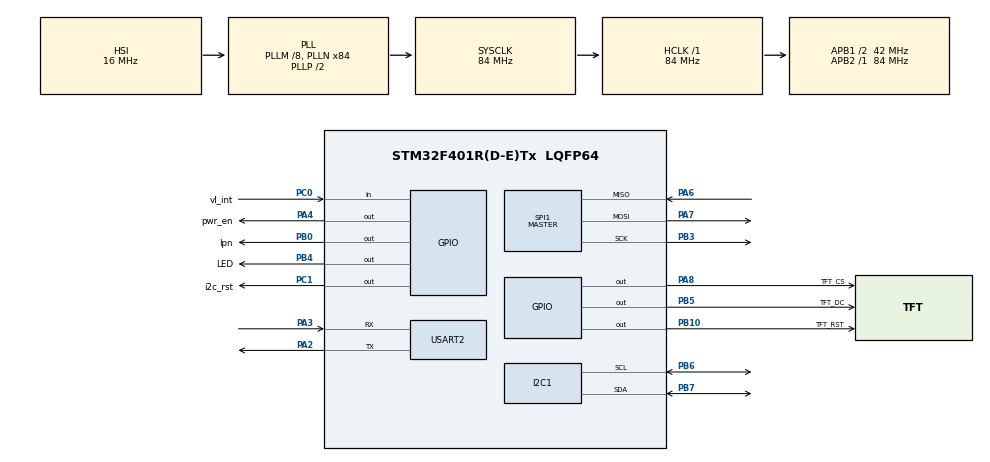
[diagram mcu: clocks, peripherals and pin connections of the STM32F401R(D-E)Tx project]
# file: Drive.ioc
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Mcu.Family=STM32F4
Mcu.Name=STM32F401R(D-E)Tx
Mcu.Package=LQFP64
NVIC.PriorityGroup=NVIC_PRIORITYGROUP_4
PA2.Mode=Asynchronous
PA2.Signal=USART2_TX
PA3.Mode=Asynchronous
PA3.Signal=USART2_RX
PA4.GPIO_Label=pwr_en
PA4.Signal=GPIO_Output
PA6.Mode=Full_Duplex_Master
PA6.Signal=SPI1_MISO
PA7.Mode=Full_Duplex_Master
PA7.Signal=SPI1_MOSI
PA8.GPIO_Label=TFT_CS
PA8.GPIO_Speed=GPIO_SPEED_FREQ_HIGH
PA8.PinState=GPIO_PIN_SET
PA8.Signal=GPIO_Output
PB0.GPIO_Label=lpn
PB0.Signal=GPIO_Output
PB10.GPIO_Label=TFT_RST
PB10.GPIO_Speed=GPIO_SPEED_FREQ_HIGH
PB10.Signal=GPIO_Output
PB3.Mode=Full_Duplex_Master
PB3.Signal=SPI1_SCK
PB4.GPIO_Label=LED
PB4.GPIO_Speed=GPIO_SPEED_FREQ_HIGH
PB4.Signal=GPIO_Output
PB5.GPIO_Label=TFT_DC
PB5.GPIO_Speed=GPIO_SPEED_FREQ_HIGH
PB5.Signal=GPIO_Output
PB6.Mode=I2C
PB6.Signal=I2C1_SCL
PB7.Mode=I2C
PB7.Signal=I2C1_SDA
PC0.GPIO_Label=vl_int
PC0.Signal=GPIO_Input
PC1.GPIO_Label=i2c_rst
PC1.Signal=GPIO_Output
ProjectManager.HeapSize=0x200
ProjectManager.StackSize=0x400
ProjectManager.TargetToolchain=STM32CubeIDE
RCC.48MHZClocksFreq_Value=42000000
RCC.AHBFreq_Value=84000000
RCC.APB1CLKDivider=RCC_HCLK_DIV2
RCC.APB1Freq_Value=42000000
RCC.APB1TimFreq_Value=84000000
RCC.APB2Freq_Value=84000000
RCC.APB2TimFreq_Value=84000000
RCC.CortexFreq_Value=84000000
RCC.HCLKFreq_Value=84000000
RCC.HSE_VALUE=25000000
RCC.HSI_VALUE=16000000
RCC.LSE_VALUE=32768
RCC.PLLM=8
RCC.PLLN=84
RCC.SYSCLKFreq_VALUE=84000000
RCC.SYSCLKSource=RCC_SYSCLKSOURCE_PLLCLK
RCC.VCOOutputFreq_Value=168000000
SPI1.BaudRatePrescaler=SPI_BAUDRATEPRESCALER_8
SPI1.DataSize=SPI_DATASIZE_8BIT
SPI1.Direction=SPI_DIRECTION_2LINES
SPI1.Mode=SPI_MODE_MASTER
SPI1.VirtualType=VM_MASTER
USART2.VirtualMode=VM_ASYNC
VP_TIM11_VS_ClockSourceINT.Mode=Enable_Timer
board=custom

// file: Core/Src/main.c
/* USER CODE BEGIN Header */
/**
  ******************************************************************************
  * @file           : main.c
  * @brief          : Main program body
  ******************************************************************************
  * @attention
  *
  * Copyright (c) 2026 STMicroelectronics.
  * All rights reserved.
  *
  * This software is licensed under terms that can be found in the LICENSE file
  * in the root directory of this software component.
  * If no LICENSE file comes with this software, it is provided AS-IS.
  *
  ******************************************************************************
  */
/* USER CODE END Header */
#include "main.h"

/* USER CODE BEGIN Includes */
#include "platform.h"
#include "ili9488.h"
#include "mpu-xxx0.h"
#include "string.h"
#include "stdio.h"
#include "vl53l7cx_api.h"

/* USER CODE END Includes */

I2C_HandleTypeDef hi2c1;

SPI_HandleTypeDef hspi1;

TIM_HandleTypeDef htim11;

UART_HandleTypeDef huart2;

/* USER CODE BEGIN PV */
#define is_interrupt 0
int status;
volatile int IntCount;
uint8_t p_data_ready;
VL53L7CX_Configuration 	Dev;
VL53L7CX_ResultsData 	Results;
uint8_t resolution, isAlive;
uint16_t idx;

/* USER CODE END PV */

void SystemClock_Config(void);
static void MX_GPIO_Init(void);
static void MX_I2C1_Init(void);
static void MX_TIM11_Init(void);
static void MX_USART2_UART_Init(void);
static void MX_SPI1_Init(void);

/* USER CODE BEGIN 0 */

void get_data_by_polling(VL53L7CX_Configuration *p_dev);
void get_data_by_interrupt(VL53L7CX_Configuration *p_dev);

void HAL_GPIO_EXTI_Callback(uint16_t GPIO_Pin)
{
	if (GPIO_Pin==vl_int_Pin)
	{
		IntCount++;
	}
}
/* USER CODE END 0 */

int main(void)
{

  /* USER CODE BEGIN 1 */
#define TRUE  1
#define FALSE 0

  /* USER CODE END 1 */

  /* MCU Configuration--------------------------------------------------------*/

  /* Reset of all peripherals, Initializes the Flash interface and the Systick. */
  HAL_Init();

  /* Configure the system clock */
  SystemClock_Config();

  /* Initialize all configured peripherals */
  MX_GPIO_Init();
  MX_I2C1_Init();
  MX_TIM11_Init();
  MX_USART2_UART_Init();
  MX_SPI1_Init();
  /* USER CODE BEGIN 2 */

  ILI9488_Init();
  /* Turn on TFT backlight / LED after display init */
  HAL_GPIO_WritePin(LED_GPIO_Port, LED_Pin, GPIO_PIN_SET);

   HAL_Delay(1000);
   setRotation(3);
   char badmpu[] = "BEFORE FILLSCREEN\n\r";

   HAL_UART_Transmit(&huart2, badmpu, strlen((char *)badmpu), 0xFFFF);
   HAL_Delay(1000);
   fillScreen(ILI9488_WHITE);
   fillScreen(ILI9488_GREEN);
   fillScreen(ILI9488_BLUE);

 char baddmpu[] = "after FILLSCREEN\n\r";

 HAL_UART_Transmit(&huart2, baddmpu, strlen((char *)badmpu), 0xFFFF);
 HAL_Delay(1000);

 ILI9488_printText("VALUE:41", 20, 20, ILI9488_BLACK, ILI9488_WHITE, 1);
 ILI9488_printText("VALUE:41", 20, 30, ILI9488_BLACK, ILI9488_WHITE, 1);

 int i = 0;
 char buffer[32];
	Dev.platform.address = VL53L7CX_DEFAULT_I2C_ADDRESS;
//	HAL_GPIO_WritePin(I2C_RST_C_GPIO_Port, I2C_RST_C_Pin, GPIO_PIN_RESET);
//	HAL_Delay(20);
//	HAL_GPIO_WritePin(PWR_EN_C_GPIO_Port, PWR_EN_C_Pin, GPIO_PIN_RESET);
//	HAL_Delay(20);
//	HAL_GPIO_WritePin(LPn_C_GPIO_Port, LPn_C_Pin, GPIO_PIN_RESET);
//	HAL_Delay(20);
//	HAL_GPIO_WritePin(PWR_EN_C_GPIO_Port, PWR_EN_C_Pin, GPIO_PIN_SET);
//	HAL_Delay(20);
//	HAL_GPIO_WritePin(LPn_C_GPIO_Port, LPn_C_Pin, GPIO_PIN_SET);
	status = vl53l7cx_is_alive(&Dev, &isAlive);
	if(!isAlive)
	{
		//printf("VL53L7CX not detected at requested address (0x%x)\n", Dev.platform.address);
		 char bbaddmpu[] = "VL53L7CX not detected at requested address (0x%x)\n";

		 HAL_UART_Transmit(&huart2, bbaddmpu, strlen((char *)badmpu), 0xFFFF);
		return 255;
	}
	char bdddmpu[] = "Sensor initializing, please wait few seconds\n\r";

	 HAL_UART_Transmit(&huart2, bdddmpu, strlen((char *)badmpu), 0xFFFF);
	//printf("Sensor initializing, please wait few seconds\n");
	status = vl53l7cx_init(&Dev);
	status = vl53l7cx_set_ranging_frequency_hz(&Dev, 2);				// Set 2Hz ranging frequency
	status = vl53l7cx_set_ranging_mode(&Dev, VL53L7CX_RANGING_MODE_CONTINUOUS);  // Set mode continuous

	printf("Ranging starts\n");
	status = vl53l7cx_start_ranging(&Dev);

	if (is_interrupt) {
			get_data_by_interrupt(&Dev);
		}
		else {
			get_data_by_polling(&Dev);
		}
  /* USER CODE END 2 */

  /* Infinite loop */
  /* USER CODE BEGIN WHILE */
  while (1)
  {
	  //fillScreen(ILI9488_WHITE);
	  snprintf(buffer, sizeof(buffer), "Value: %d", i);
	  ILI9488_printText(buffer, 20, 30, ILI9488_BLACK, ILI9488_WHITE, 1);
	  i++;
	  HAL_Delay(5000);
    /* USER CODE END WHILE */

  }
}

void SystemClock_Config(void)
{
  RCC_OscInitTypeDef RCC_OscInitStruct = {0};
  RCC_ClkInitTypeDef RCC_ClkInitStruct = {0};

  /** Configure the main internal regulator output voltage
  */
  __HAL_RCC_PWR_CLK_ENABLE();
  __HAL_PWR_VOLTAGESCALING_CONFIG(PWR_REGULATOR_VOLTAGE_SCALE2);

  /** Initializes the RCC Oscillators according to the specified parameters
  * in the RCC_OscInitTypeDef structure.
  */
  RCC_OscInitStruct.OscillatorType = RCC_OSCILLATORTYPE_HSI;
  RCC_OscInitStruct.HSIState = RCC_HSI_ON;
  RCC_OscInitStruct.HSICalibrationValue = RCC_HSICALIBRATION_DEFAULT;
  RCC_OscInitStruct.PLL.PLLState = RCC_PLL_ON;
  RCC_OscInitStruct.PLL.PLLSource = RCC_PLLSOURCE_HSI;
  RCC_OscInitStruct.PLL.PLLM = 8;
  RCC_OscInitStruct.PLL.PLLN = 84;
  RCC_OscInitStruct.PLL.PLLP = RCC_PLLP_DIV2;
  RCC_OscInitStruct.PLL.PLLQ = 4;
  if (HAL_RCC_OscConfig(&RCC_OscInitStruct) != HAL_OK)
  {
    Error_Handler();
  }

  /** Initializes the CPU, AHB and APB buses clocks
  */
  RCC_ClkInitStruct.ClockType = RCC_CLOCKTYPE_HCLK|RCC_CLOCKTYPE_SYSCLK
                              |RCC_CLOCKTYPE_PCLK1|RCC_CLOCKTYPE_PCLK2;
  RCC_ClkInitStruct.SYSCLKSource = RCC_SYSCLKSOURCE_PLLCLK;
  RCC_ClkInitStruct.AHBCLKDivider = RCC_SYSCLK_DIV1;
  RCC_ClkInitStruct.APB1CLKDivider = RCC_HCLK_DIV2;
  RCC_ClkInitStruct.APB2CLKDivider = RCC_HCLK_DIV1;

  if (HAL_RCC_ClockConfig(&RCC_ClkInitStruct, FLASH_LATENCY_2) != HAL_OK)
  {
    Error_Handler();
  }
}

static void MX_I2C1_Init(void)
{

  hi2c1.Instance = I2C1;
  hi2c1.Init.ClockSpeed = 100000;
  hi2c1.Init.DutyCycle = I2C_DUTYCYCLE_2;
  hi2c1.Init.OwnAddress1 = 0;
  hi2c1.Init.AddressingMode = I2C_ADDRESSINGMODE_7BIT;
  hi2c1.Init.DualAddressMode = I2C_DUALADDRESS_DISABLE;
  hi2c1.Init.OwnAddress2 = 0;
  hi2c1.Init.GeneralCallMode = I2C_GENERALCALL_DISABLE;
  hi2c1.Init.NoStretchMode = I2C_NOSTRETCH_DISABLE;
  if (HAL_I2C_Init(&hi2c1) != HAL_OK)
  {
    Error_Handler();
  }

}

static void MX_SPI1_Init(void)
{

  /* SPI1 parameter configuration*/
  hspi1.Instance = SPI1;
  hspi1.Init.Mode = SPI_MODE_MASTER;
  hspi1.Init.Direction = SPI_DIRECTION_2LINES;
  hspi1.Init.DataSize = SPI_DATASIZE_8BIT;
  hspi1.Init.CLKPolarity = SPI_POLARITY_LOW;
  hspi1.Init.CLKPhase = SPI_PHASE_1EDGE;
  hspi1.Init.NSS = SPI_NSS_SOFT;
  hspi1.Init.BaudRatePrescaler = SPI_BAUDRATEPRESCALER_8;
  hspi1.Init.FirstBit = SPI_FIRSTBIT_MSB;
  hspi1.Init.TIMode = SPI_TIMODE_DISABLE;
  hspi1.Init.CRCCalculation = SPI_CRCCALCULATION_DISABLE;
  hspi1.Init.CRCPolynomial = 10;
  if (HAL_SPI_Init(&hspi1) != HAL_OK)
  {
    Error_Handler();
  }

}

static void MX_TIM11_Init(void)
{

  htim11.Instance = TIM11;
  htim11.Init.Prescaler = 0;
  htim11.Init.CounterMode = TIM_COUNTERMODE_UP;
  htim11.Init.Period = 65535;
  htim11.Init.ClockDivision = TIM_CLOCKDIVISION_DIV1;
  htim11.Init.AutoReloadPreload = TIM_AUTORELOAD_PRELOAD_DISABLE;
  if (HAL_TIM_Base_Init(&htim11) != HAL_OK)
  {
    Error_Handler();
  }

}

static void MX_USART2_UART_Init(void)
{

  huart2.Instance = USART2;
  huart2.Init.BaudRate = 115200;
  huart2.Init.WordLength = UART_WORDLENGTH_8B;
  huart2.Init.StopBits = UART_STOPBITS_1;
  huart2.Init.Parity = UART_PARITY_NONE;
  huart2.Init.Mode = UART_MODE_TX_RX;
  huart2.Init.HwFlowCtl = UART_HWCONTROL_NONE;
  huart2.Init.OverSampling = UART_OVERSAMPLING_16;
  if (HAL_UART_Init(&huart2) != HAL_OK)
  {
    Error_Handler();
  }

}

static void MX_GPIO_Init(void)
{
  GPIO_InitTypeDef GPIO_InitStruct = {0};

  /* GPIO Ports Clock Enable */
  __HAL_RCC_GPIOC_CLK_ENABLE();
  __HAL_RCC_GPIOA_CLK_ENABLE();
  __HAL_RCC_GPIOB_CLK_ENABLE();

  /*Configure GPIO pin Output Level */
  HAL_GPIO_WritePin(i2c_rst_GPIO_Port, i2c_rst_Pin, GPIO_PIN_RESET);

  /*Configure GPIO pin Output Level */
  HAL_GPIO_WritePin(pwr_en_GPIO_Port, pwr_en_Pin, GPIO_PIN_RESET);

  /*Configure GPIO pin Output Level */
  HAL_GPIO_WritePin(GPIOB, lpn_Pin|TFT_RST_Pin|LED_Pin|TFT_DC_Pin, GPIO_PIN_RESET);

  /*Configure GPIO pin Output Level */
  HAL_GPIO_WritePin(TFT_CS_GPIO_Port, TFT_CS_Pin, GPIO_PIN_SET);

  /*Configure GPIO pin : vl_int_Pin */
  GPIO_InitStruct.Pin = vl_int_Pin;
  GPIO_InitStruct.Mode = GPIO_MODE_INPUT;
  GPIO_InitStruct.Pull = GPIO_NOPULL;
  HAL_GPIO_Init(vl_int_GPIO_Port, &GPIO_InitStruct);

  /*Configure GPIO pin : i2c_rst_Pin */
  GPIO_InitStruct.Pin = i2c_rst_Pin;
  GPIO_InitStruct.Mode = GPIO_MODE_OUTPUT_PP;
  GPIO_InitStruct.Pull = GPIO_NOPULL;
  GPIO_InitStruct.Speed = GPIO_SPEED_FREQ_LOW;
  HAL_GPIO_Init(i2c_rst_GPIO_Port, &GPIO_InitStruct);

  /*Configure GPIO pin : pwr_en_Pin */
  GPIO_InitStruct.Pin = pwr_en_Pin;
  GPIO_InitStruct.Mode = GPIO_MODE_OUTPUT_PP;
  GPIO_InitStruct.Pull = GPIO_NOPULL;
  GPIO_InitStruct.Speed = GPIO_SPEED_FREQ_LOW;
  HAL_GPIO_Init(pwr_en_GPIO_Port, &GPIO_InitStruct);

  /*Configure GPIO pin : lpn_Pin */
  GPIO_InitStruct.Pin = lpn_Pin;
  GPIO_InitStruct.Mode = GPIO_MODE_OUTPUT_PP;
  GPIO_InitStruct.Pull = GPIO_NOPULL;
  GPIO_InitStruct.Speed = GPIO_SPEED_FREQ_LOW;
  HAL_GPIO_Init(lpn_GPIO_Port, &GPIO_InitStruct);

  /*Configure GPIO pins : TFT_RST_Pin LED_Pin TFT_DC_Pin */
  GPIO_InitStruct.Pin = TFT_RST_Pin|LED_Pin|TFT_DC_Pin;
  GPIO_InitStruct.Mode = GPIO_MODE_OUTPUT_PP;
  GPIO_InitStruct.Pull = GPIO_NOPULL;
  GPIO_InitStruct.Speed = GPIO_SPEED_FREQ_HIGH;
  HAL_GPIO_Init(GPIOB, &GPIO_InitStruct);

  /*Configure GPIO pin : TFT_CS_Pin */
  GPIO_InitStruct.Pin = TFT_CS_Pin;
  GPIO_InitStruct.Mode = GPIO_MODE_OUTPUT_PP;
  GPIO_InitStruct.Pull = GPIO_NOPULL;
  GPIO_InitStruct.Speed = GPIO_SPEED_FREQ_HIGH;
  HAL_GPIO_Init(TFT_CS_GPIO_Port, &GPIO_InitStruct);

}

/* USER CODE BEGIN 4 */
void get_data_by_interrupt(VL53L7CX_Configuration *p_dev){
	do
	{
		__WFI();	// Wait for interrupt
		if(IntCount !=0 ){
			IntCount=0;
			status = vl53l7cx_get_resolution(p_dev, &resolution);
			status = vl53l7cx_get_ranging_data(p_dev, &Results);

			for(int i = 0; i < resolution;i++){
				/* Print per zone results */
				printf("Zone : %2d, Nb targets : %2u, Ambient : %4lu Kcps/spads, ",
						i,
						Results.nb_target_detected[i],
						Results.ambient_per_spad[i]);

				/* Print per target results */
				if(Results.nb_target_detected[i] > 0){
					printf("Target status : %3u, Distance : %4d mm\n",
							Results.target_status[VL53L7CX_NB_TARGET_PER_ZONE * i],
							Results.distance_mm[VL53L7CX_NB_TARGET_PER_ZONE * i]);
				}else{
					printf("Target status : 255, Distance : No target\n");
				}
			}
			printf("\n");
		}
	}while(1);
}

void get_data_by_polling(VL53L7CX_Configuration *p_dev){
	do
	{
		status = vl53l7cx_check_data_ready(&Dev, &p_data_ready);
		if(p_data_ready){
			status = vl53l7cx_get_resolution(p_dev, &resolution);
			status = vl53l7cx_get_ranging_data(p_dev, &Results);

			for(int i = 0; i < resolution;i++){
				/* Print per zone results */
				printf("Zone : %2d, Nb targets : %2u, Ambient : %4lu Kcps/spads, ",
						i,
						Results.nb_target_detected[i],
						Results.ambient_per_spad[i]);

				/* Print per target results */
				if(Results.nb_target_detected[i] > 0){
					printf("Target status : %3u, Distance : %4d mm\n",
							Results.target_status[VL53L7CX_NB_TARGET_PER_ZONE * i],
							Results.distance_mm[VL53L7CX_NB_TARGET_PER_ZONE * i]);
				}else{
					printf("Target status : 255, Distance : No target\n");
				}
			}
			printf("\n");
		}else{
			HAL_Delay(5);
		}
	}
	while(1);
}

/* USER CODE END 4 */

void Error_Handler(void)
{
  __disable_irq();
  while (1)
  {
  }
}
